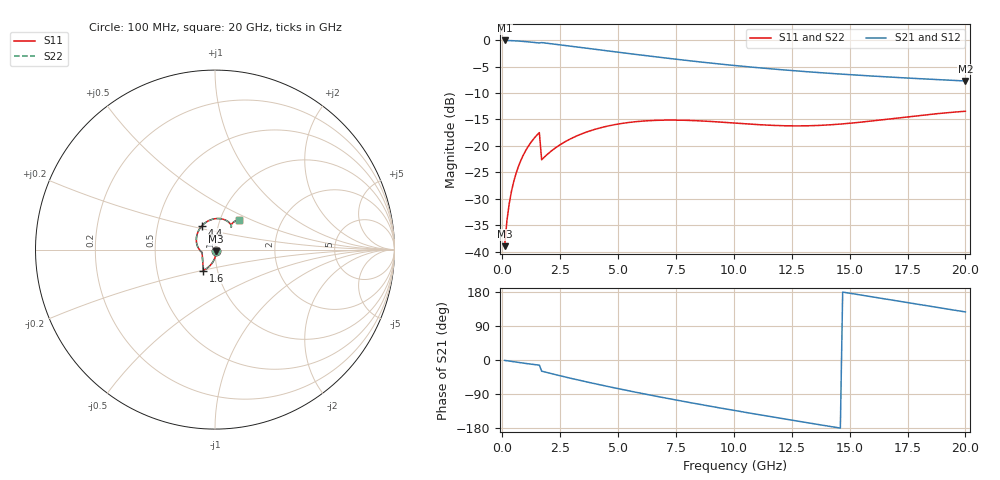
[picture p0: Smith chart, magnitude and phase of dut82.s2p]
! Created with skrf 1.9.0 (http://scikit-rf.org).
# GHz S RI R 50.0
!freq ReS11 ImS11 ReS21 ImS21 ReS12 ImS12 ReS22 ImS22
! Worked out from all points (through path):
!   200 points, 100 MHz to 20 GHz, reference 50 ohm
!   highest |S21| = -0.07 dB at 100 MHz (marker M1); lowest = -7.7 dB at 20 GHz (marker M2)
!   group delay of S21, straight-line fit = 31.5 ps
!   lowest |S11| = -39.0 dB at 100 MHz (marker M3), VSWR 1.02, Z = 50.7 - j0.89 ohm
!   |S11| at or under -10 dB: start of sweep to end of sweep
!   |S22| runs from -39.0 to -13.5 dB; largest |S21 - S12| = 2.1e-15
!   S11 on the Smith chart (normalised r, x): 100 MHz: 1.01, -0.02; 1.6 GHz: 0.86, -0.20; 4.4 GHz: 0.84, +0.23; 20 GHz: 1.23, +0.42
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0.1  0.00705 -0.00877  0.9922 -0.0171  0.9922 -0.0171  0.00705 -0.00877
0.2  0.00617 -0.0186  0.9908 -0.033  0.9908 -0.033  0.00617 -0.0186
0.3  0.00451 -0.0281  0.9888 -0.0489  0.9888 -0.0489  0.00451 -0.0281
0.4  0.00215 -0.0374  0.986 -0.0647  0.986 -0.0647  0.00215 -0.0374
0.6  -0.00451 -0.0552  0.9784 -0.0953  0.9784 -0.0953  -0.00451 -0.0552
0.8  -0.0135 -0.0714  0.9684 -0.1243  0.9684 -0.1243  -0.0135 -0.0714
1  -0.0245 -0.0859  0.9564 -0.1514  0.9564 -0.1514  -0.0245 -0.0859
1.6  -0.0646 -0.1167  0.9129 -0.2204  0.9129 -0.2204  -0.0646 -0.1167
1.7  -0.0721 -0.0159  0.8254 -0.4652  0.8254 -0.4652  -0.0721 -0.0159
2.5  -0.0996 0.0245  0.6735 -0.599  0.6735 -0.599  -0.0996 0.0245
3.5  -0.0991 0.0866  0.4747 -0.699  0.4747 -0.699  -0.0991 0.0866
4.4  -0.0732 0.1323  0.3011 -0.7387  0.3011 -0.7387  -0.0732 0.1323
5.5  -0.0274 0.1645  0.1062 -0.7368  0.1062 -0.7368  -0.0274 0.1645
6.8  0.025 0.1729  -0.0892 -0.6816  -0.0892 -0.6816  0.025 0.1729
8.4  0.0686 0.1586  -0.2712 -0.5648  -0.2712 -0.5648  0.0686 0.1586
10.1  0.0884 0.138  -0.3979 -0.4125  -0.3979 -0.4125  0.0884 0.138
11.7  0.0912 0.1267  -0.4637 -0.2619  -0.4637 -0.2619  0.0912 0.1267
13.4  0.0892 0.127  -0.4866 -0.1057  -0.4866 -0.1057  0.0892 0.127
15  0.0905 0.1362  -0.4702 0.0307  -0.4702 0.0307  0.0905 0.1362
16.7  0.0993 0.1495  -0.4189 0.1575  -0.4189 0.1575  0.0993 0.1495
18.4  0.1157 0.1603  -0.3395 0.2596  -0.3395 0.2596  0.1157 0.1603
20  0.1349 0.1641  -0.2463 0.3288  -0.2463 0.3288  0.1349 0.1641
